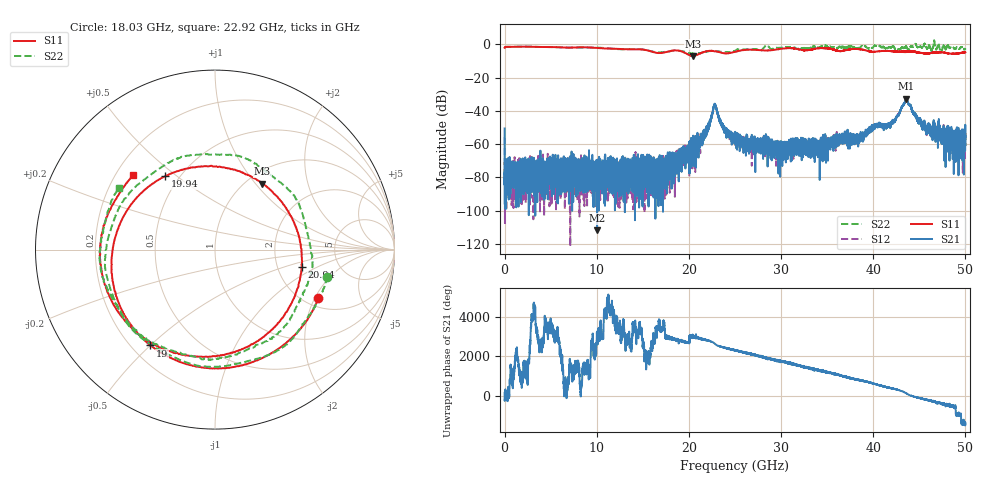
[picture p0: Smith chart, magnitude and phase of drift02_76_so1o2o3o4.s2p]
!Created with skrf (http://scikit-rf.org).
# Hz S RI R 50.0
!freq ReS11 ImS11 ReS21 ImS21 ReS12 ImS12 ReS22 ImS22
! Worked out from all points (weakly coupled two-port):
!   10001 points, 300 kHz to 50 GHz, reference 50 ohm
!   highest |S21| = -32.69 dB at 43.58 GHz (marker M1); lowest = -111.9 dB at 10.04 GHz (marker M2)
!   lowest |S11| = -6.9 dB at 20.44 GHz (marker M3), VSWR 2.65, Z = 58.7 + j54.2 ohm
!   |S11| at or under -10 dB: nowhere
!   |S22| runs from -5.7 to 2.4 dB; largest |S21 - S12| = 0.0036
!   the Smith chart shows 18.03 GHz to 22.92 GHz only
!   S11 on the Smith chart (normalised r, x): 18.03 GHz: 2.35, -2.13; 19 GHz: 0.27, -0.50; 19.94 GHz: 0.42, +0.46; 20.94 GHz: 2.74, -0.71; 22.92 GHz: 0.27, +0.36
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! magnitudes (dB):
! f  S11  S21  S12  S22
! 300 kHz  -2.1  -50.5  -56.0  -2.1
! 265.3 MHz  -1.4  -70.4  -81.2  -1.4
! 8.335 GHz  -1.7  -73.1  -84.3  -1.9
! 10.04 GHz  -2.1  -111.9  -73.3  -1.9
! 16.67 GHz  -5.2  -69.4  -74.7  -4.7
! 18.03 GHz  -3.9  -71.6  -71.6  -3.9
! 19 GHz  -3.8  -68.4  -66.3  -3.9
! 19.94 GHz  -6.1  -65.7  -65.7  -5.2
! 20.44 GHz  -6.9  -61.6  -65.8  -5.4
! 20.94 GHz  -6.1  -55.9  -59.2  -5.6
! 21.96 GHz  -4.1  -49.6  -52.3  -4.3
! 22.92 GHz  -4.2  -37.2  -37.1  -3.9
! 23.78 GHz  -5.3  -51.3  -50.7  -4.6
! 25 GHz  -4.5  -56.3  -56.1  -3.9
! 29.66 GHz  -2.9  -62.7  -61.9  -2.1
! 33.34 GHz  -3.0  -62.3  -62.8  -1.5
! 38.39 GHz  -2.8  -55.8  -55.6  -2.1
! 40.34 GHz  -4.4  -47.7  -49.6  -1.0
! 41.67 GHz  -4.0  -48.5  -48.0  -1.9
! 43.58 GHz  -4.6  -32.7  -33.7  -1.1
! 45.58 GHz  -5.4  -48.9  -47.2  0.4
! 50 GHz  -4.7  -60.3  -57.9  -2.8
